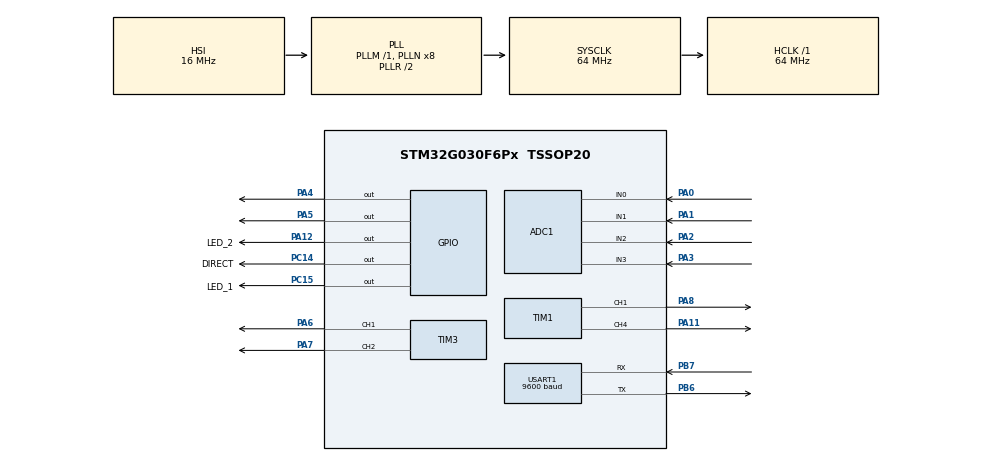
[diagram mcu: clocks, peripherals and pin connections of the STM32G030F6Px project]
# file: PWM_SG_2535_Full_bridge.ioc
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ADC1.Channel-0\#ChannelRegularConversion=ADC_CHANNEL_0
ADC1.Channel-1\#ChannelRegularConversion=ADC_CHANNEL_1
ADC1.Channel-2\#ChannelRegularConversion=ADC_CHANNEL_2
ADC1.Channel-3\#ChannelRegularConversion=ADC_CHANNEL_3
ADC1.Channel-4\#ChannelRegularConversion=ADC_CHANNEL_4
ADC1.Channel-5\#ChannelRegularConversion=ADC_CHANNEL_5
ADC1.Channel-6\#ChannelRegularConversion=ADC_CHANNEL_6
ADC1.ContinuousConvMode=DISABLE
ADC1.EOCSelection=ADC_EOC_SEQ_CONV
ADC1.NbrOfConversion=7
ADC1.NbrOfConversionFlag=1
ADC1.Overrun=ADC_OVR_DATA_OVERWRITTEN
ADC1.Rank-0\#ChannelRegularConversion=1
ADC1.Rank-1\#ChannelRegularConversion=2
ADC1.Rank-2\#ChannelRegularConversion=3
ADC1.Rank-3\#ChannelRegularConversion=4
ADC1.Rank-4\#ChannelRegularConversion=5
ADC1.Rank-5\#ChannelRegularConversion=6
ADC1.Rank-6\#ChannelRegularConversion=7
ADC1.SamplingTime-0\#ChannelRegularConversion=ADC_SAMPLINGTIME_COMMON_1
ADC1.SamplingTime-1\#ChannelRegularConversion=ADC_SAMPLINGTIME_COMMON_1
ADC1.SamplingTime-2\#ChannelRegularConversion=ADC_SAMPLINGTIME_COMMON_1
ADC1.SamplingTime-3\#ChannelRegularConversion=ADC_SAMPLINGTIME_COMMON_1
ADC1.SamplingTime-4\#ChannelRegularConversion=ADC_SAMPLINGTIME_COMMON_1
ADC1.SamplingTime-5\#ChannelRegularConversion=ADC_SAMPLINGTIME_COMMON_1
ADC1.SamplingTime-6\#ChannelRegularConversion=ADC_SAMPLINGTIME_COMMON_1
ADC1.SamplingTimeCommon1=ADC_SAMPLETIME_79CYCLES_5
ADC1.SamplingTimeCommon2=ADC_SAMPLETIME_79CYCLES_5
ADC1.SelectedChannel=ADC_CHANNEL_0|ADC_CHANNEL_1|ADC_CHANNEL_2|ADC_CHANNEL_3
ADC1.master=1
Dma.ADC1.2.Direction=DMA_PERIPH_TO_MEMORY
Dma.ADC1.2.EventEnable=DISABLE
Dma.ADC1.2.Instance=DMA1_Channel3
Dma.ADC1.2.MemDataAlignment=DMA_MDATAALIGN_HALFWORD
Dma.ADC1.2.MemInc=DMA_MINC_ENABLE
Dma.ADC1.2.Mode=DMA_NORMAL
Dma.ADC1.2.PeriphDataAlignment=DMA_PDATAALIGN_HALFWORD
Dma.ADC1.2.PeriphInc=DMA_PINC_DISABLE
Dma.ADC1.2.Polarity=HAL_DMAMUX_REQ_GEN_RISING
Dma.ADC1.2.Priority=DMA_PRIORITY_LOW
Dma.ADC1.2.RequestNumber=1
Dma.ADC1.2.SignalID=NONE
Dma.ADC1.2.SyncEnable=DISABLE
Dma.ADC1.2.SyncPolarity=HAL_DMAMUX_SYNC_NO_EVENT
Dma.ADC1.2.SyncRequestNumber=1
Dma.ADC1.2.SyncSignalID=NONE
Dma.Request0=USART1_RX
Dma.Request1=USART1_TX
Dma.Request2=ADC1
Dma.USART1_RX.0.Direction=DMA_PERIPH_TO_MEMORY
Dma.USART1_RX.0.EventEnable=DISABLE
Dma.USART1_RX.0.Instance=DMA1_Channel1
Dma.USART1_RX.0.MemDataAlignment=DMA_MDATAALIGN_BYTE
Dma.USART1_RX.0.MemInc=DMA_MINC_ENABLE
Dma.USART1_RX.0.Mode=DMA_NORMAL
Dma.USART1_RX.0.PeriphDataAlignment=DMA_PDATAALIGN_BYTE
Dma.USART1_RX.0.PeriphInc=DMA_PINC_DISABLE
Dma.USART1_RX.0.Polarity=HAL_DMAMUX_REQ_GEN_RISING
Dma.USART1_RX.0.Priority=DMA_PRIORITY_VERY_HIGH
Dma.USART1_RX.0.RequestNumber=1
Dma.USART1_RX.0.SignalID=NONE
Dma.USART1_RX.0.SyncEnable=DISABLE
Dma.USART1_RX.0.SyncPolarity=HAL_DMAMUX_SYNC_NO_EVENT
Dma.USART1_RX.0.SyncRequestNumber=1
Dma.USART1_RX.0.SyncSignalID=NONE
Dma.USART1_TX.1.Direction=DMA_MEMORY_TO_PERIPH
Dma.USART1_TX.1.EventEnable=DISABLE
Dma.USART1_TX.1.Instance=DMA1_Channel2
Dma.USART1_TX.1.MemDataAlignment=DMA_MDATAALIGN_BYTE
Dma.USART1_TX.1.MemInc=DMA_MINC_ENABLE
Dma.USART1_TX.1.Mode=DMA_NORMAL
Dma.USART1_TX.1.PeriphDataAlignment=DMA_PDATAALIGN_BYTE
Dma.USART1_TX.1.PeriphInc=DMA_PINC_DISABLE
Dma.USART1_TX.1.Polarity=HAL_DMAMUX_REQ_GEN_RISING
Dma.USART1_TX.1.Priority=DMA_PRIORITY_HIGH
Dma.USART1_TX.1.RequestNumber=1
Dma.USART1_TX.1.SignalID=NONE
Dma.USART1_TX.1.SyncEnable=DISABLE
Dma.USART1_TX.1.SyncPolarity=HAL_DMAMUX_SYNC_NO_EVENT
Dma.USART1_TX.1.SyncRequestNumber=1
Dma.USART1_TX.1.SyncSignalID=NONE
Mcu.Family=STM32G0
Mcu.Name=STM32G030F6Px
Mcu.Package=TSSOP20
NVIC.ADC1_IRQn=true\:0\:0\:false\:false\:true\:true\:true\:true
NVIC.DMA1_Channel1_IRQn=true\:0\:0\:false\:false\:true\:false\:true\:true
NVIC.DMA1_Channel2_3_IRQn=true\:0\:0\:false\:false\:true\:false\:true\:true
NVIC.RCC_IRQn=true\:0\:0\:false\:false\:true\:true\:false\:true
NVIC.TIM14_IRQn=true\:0\:0\:false\:false\:true\:true\:true\:true
NVIC.USART1_IRQn=true\:0\:0\:false\:false\:true\:true\:true\:true
PA0.Mode=IN0
PA0.Signal=ADC1_IN0
PA1.Mode=IN1
PA1.Signal=ADC1_IN1
PA11\ [PA9].Signal=S_TIM1_CH4
PA12\ [PA10].GPIO_Label=LED_2
PA12\ [PA10].Signal=GPIO_Output
PA13.Mode=Serial_Wire
PA13.Signal=SYS_SWDIO
PA14-BOOT0.Mode=Serial_Wire
PA14-BOOT0.Signal=SYS_SWCLK
PA14-BOOT0__PA15.StandardMode=true
PA2.Mode=IN2
PA2.Signal=ADC1_IN2
PA3.Mode=IN3
PA3.Signal=ADC1_IN3
PA4.Signal=GPIO_Output
PA5.Signal=GPIO_Output
PA6.Signal=S_TIM3_CH1
PA7.Signal=S_TIM3_CH2
PA8.Signal=S_TIM1_CH1
PB0__PB1__PB2__PA8.StandardMode=true
PB3__PB4__PB5__PB6.StandardMode=true
PB6.Mode=Asynchronous
PB6.Signal=USART1_TX
PB7.Mode=Asynchronous
PB7.Signal=USART1_RX
PB7__PB8.StandardMode=true
PC14-OSC32_IN\ (PC14).GPIO_Label=DIRECT
PC14-OSC32_IN\ (PC14).Signal=GPIO_Output
PC14-OSC32_IN\ (PC14)__PB9.StandardMode=true
PC15-OSC32_OUT\ (PC15).GPIO_Label=LED_1
PC15-OSC32_OUT\ (PC15).Signal=GPIO_Output
ProjectManager.HeapSize=0x200
ProjectManager.StackSize=0x400
ProjectManager.TargetToolchain=STM32CubeIDE
RCC.ADCFreq_Value=64000000
RCC.AHBFreq_Value=64000000
RCC.CortexFreq_Value=64000000
RCC.EXTERNAL_CLOCK_VALUE=12288000
RCC.HCLKFreq_Value=64000000
RCC.HSE_VALUE=8000000
RCC.HSI_VALUE=16000000
RCC.LSE_VALUE=32768
RCC.SYSCLKFreq_VALUE=64000000
RCC.SYSCLKSource=RCC_SYSCLKSOURCE_PLLCLK
RCC.VCOOutputFreq_Value=128000000
SH.S_TIM1_CH1.0=TIM1_CH1,PWM Generation1 CH1
SH.S_TIM1_CH4.0=TIM1_CH4,PWM Generation4 CH4
SH.S_TIM3_CH1.0=TIM3_CH1,PWM Generation1 CH1
SH.S_TIM3_CH2.0=TIM3_CH2,PWM Generation2 CH2
TIM1.Channel-PWM\ Generation1\ CH1=TIM_CHANNEL_1
TIM1.Channel-PWM\ Generation4\ CH4=TIM_CHANNEL_4
TIM14.AutoReloadPreload=TIM_AUTORELOAD_PRELOAD_ENABLE
TIM14.Period=45000
TIM14.Prescaler=4
TIM3.Channel-PWM\ Generation1\ CH1=TIM_CHANNEL_1
TIM3.Channel-PWM\ Generation2\ CH2=TIM_CHANNEL_2
USART1.BaudRate=9600
USART1.VirtualMode-Asynchronous=VM_ASYNC
VP_TIM14_VS_ClockSourceINT.Mode=Enable_Timer
VP_TIM16_VS_ClockSourceINT.Mode=Enable_Timer
VP_TIM1_VS_ClockSourceINT.Mode=Internal
VP_TIM3_VS_ClockSourceINT.Mode=Internal
board=custom

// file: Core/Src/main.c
/* USER CODE BEGIN Header */
/**
  ******************************************************************************
  * @file           : main.c
  * @brief          : Main program body
  ******************************************************************************
  * @attention
  *
  * Copyright (c) 2024 STMicroelectronics.
  * All rights reserved.
  *
  * This software is licensed under terms that can be found in the LICENSE file
  * in the root directory of this software component.
  * If no LICENSE file comes with this software, it is provided AS-IS.
  *
  ******************************************************************************
  */
/* USER CODE END Header */
#include "main.h"

/* USER CODE BEGIN Includes */
#include "stdbool.h"
#include "modbusDevice.h"
#include "modbusSlave.h"
#include "Registers_handler.h"
#include <math.h>
/* USER CODE END Includes */

/* USER CODE BEGIN PTD */
#define RX_BUFFER_SIZE 64
#define USART_TIMEOUT 900 // Таймаут в миллисекундах
#define ADC_NUM_CHANNELS 7
#define MA_WINDOW_SIZE 50
#define ADC_CHANNEL_COUNT 2
#define STEINHART_A 0.001129148f
#define STEINHART_B 0.000234125f
#define STEINHART_C 0.0000000876741f  // 8.76741e-08

uint16_t adc_values[ADC_NUM_CHANNELS];
volatile uint8_t adc_ready = 0;
uint32_t lastActivityTime = 0;
 bool usartBusy = false;
 uint8_t rxFrame[64];
 uint8_t txFrame[255];
 uint8_t SLAVE_ID=8;
 uint16_t data_reg[16]={0,};
 uint16_t rcv_data_reg[16]={0,};
 uint8_t coils=0;
 uint8_t dicreteInputs=0;

 typedef struct {
     uint16_t buffer[MA_WINDOW_SIZE];
     uint32_t sum;
     uint8_t index;
     uint8_t filled;
     uint16_t result;
 } MovingAverageFilter;

 MovingAverageFilter ma_filters[ADC_CHANNEL_COUNT] = {0};
/* USER CODE END PTD */

ADC_HandleTypeDef hadc1;
DMA_HandleTypeDef hdma_adc1;

TIM_HandleTypeDef htim1;
TIM_HandleTypeDef htim3;
TIM_HandleTypeDef htim14;
TIM_HandleTypeDef htim16;

UART_HandleTypeDef huart1;
DMA_HandleTypeDef hdma_usart1_rx;
DMA_HandleTypeDef hdma_usart1_tx;

void SystemClock_Config(void);
static void MX_GPIO_Init(void);
static void MX_DMA_Init(void);
static void MX_USART1_UART_Init(void);
static void MX_ADC1_Init(void);
static void MX_TIM14_Init(void);
static void MX_TIM1_Init(void);
static void MX_TIM3_Init(void);
static void MX_TIM16_Init(void);

/* USER CODE BEGIN 0 */
void Check_USART1_Timeout(void);
void Reset_USART1(void);
float calculate_ntc_temperature(uint16_t adc_raw);
void MA_Update(MovingAverageFilter *filter, uint16_t new_value);
/* USER CODE END 0 */

int main(void)
{

  /* MCU Configuration--------------------------------------------------------*/

  /* Reset of all peripherals, Initializes the Flash interface and the Systick. */
  HAL_Init();

  /* Configure the system clock */
  SystemClock_Config();

  /* Initialize all configured peripherals */
  MX_GPIO_Init();
  MX_DMA_Init();
  MX_USART1_UART_Init();
  MX_ADC1_Init();
  MX_TIM14_Init();
  MX_TIM1_Init();
  MX_TIM3_Init();
  MX_TIM16_Init();
  /* USER CODE BEGIN 2 */

  HAL_UARTEx_ReceiveToIdle_DMA(&huart1, rxFrame, RX_BUFFER_SIZE);
   __HAL_DMA_DISABLE_IT(&hdma_usart1_rx, DMA_IT_HT);
   HAL_ADCEx_Calibration_Start(&hadc1);
   HAL_TIM_Base_Start_IT(&htim14);

  /* USER CODE END 2 */

  /* Infinite loop */
  /* USER CODE BEGIN WHILE */
  while (1)
  {

	// float t_float = calculate_ntc_temperature(adc_values[2]);
	  Check_USART1_Timeout();
	data_reg[0] = ma_filters[0].result*0.53;
	data_reg[1] = ma_filters[1].result;
	memcpy(&data_reg[2], (int16_t[]){(int16_t)(calculate_ntc_temperature(adc_values[2]) * 10.0f + 0.5f)}, 2);
	data_reg[3]=adc_values[3];
	data_reg[4]=adc_values[4];
    data_reg[5]=adc_values[5];
    data_reg[6]=adc_values[6];

    /* USER CODE END WHILE */

  }
}

void SystemClock_Config(void)
{
  RCC_OscInitTypeDef RCC_OscInitStruct = {0};
  RCC_ClkInitTypeDef RCC_ClkInitStruct = {0};

  /** Configure the main internal regulator output voltage
  */
  HAL_PWREx_ControlVoltageScaling(PWR_REGULATOR_VOLTAGE_SCALE1);

  /** Initializes the RCC Oscillators according to the specified parameters
  * in the RCC_OscInitTypeDef structure.
  */
  RCC_OscInitStruct.OscillatorType = RCC_OSCILLATORTYPE_HSI;
  RCC_OscInitStruct.HSIState = RCC_HSI_ON;
  RCC_OscInitStruct.HSIDiv = RCC_HSI_DIV1;
  RCC_OscInitStruct.HSICalibrationValue = RCC_HSICALIBRATION_DEFAULT;
  RCC_OscInitStruct.PLL.PLLState = RCC_PLL_ON;
  RCC_OscInitStruct.PLL.PLLSource = RCC_PLLSOURCE_HSI;
  RCC_OscInitStruct.PLL.PLLM = RCC_PLLM_DIV1;
  RCC_OscInitStruct.PLL.PLLN = 8;
  RCC_OscInitStruct.PLL.PLLP = RCC_PLLP_DIV2;
  RCC_OscInitStruct.PLL.PLLR = RCC_PLLR_DIV2;
  if (HAL_RCC_OscConfig(&RCC_OscInitStruct) != HAL_OK)
  {
    Error_Handler();
  }

  /** Initializes the CPU, AHB and APB buses clocks
  */
  RCC_ClkInitStruct.ClockType = RCC_CLOCKTYPE_HCLK|RCC_CLOCKTYPE_SYSCLK
                              |RCC_CLOCKTYPE_PCLK1;
  RCC_ClkInitStruct.SYSCLKSource = RCC_SYSCLKSOURCE_PLLCLK;
  RCC_ClkInitStruct.AHBCLKDivider = RCC_SYSCLK_DIV1;
  RCC_ClkInitStruct.APB1CLKDivider = RCC_HCLK_DIV1;

  if (HAL_RCC_ClockConfig(&RCC_ClkInitStruct, FLASH_LATENCY_2) != HAL_OK)
  {
    Error_Handler();
  }
}

static void MX_ADC1_Init(void)
{

  ADC_ChannelConfTypeDef sConfig = {0};

  /** Configure the global features of the ADC (Clock, Resolution, Data Alignment and number of conversion)
  */
  hadc1.Instance = ADC1;
  hadc1.Init.ClockPrescaler = ADC_CLOCK_SYNC_PCLK_DIV2;
  hadc1.Init.Resolution = ADC_RESOLUTION_12B;
  hadc1.Init.DataAlign = ADC_DATAALIGN_RIGHT;
  hadc1.Init.ScanConvMode = ADC_SCAN_ENABLE;
  hadc1.Init.EOCSelection = ADC_EOC_SEQ_CONV;
  hadc1.Init.LowPowerAutoWait = DISABLE;
  hadc1.Init.LowPowerAutoPowerOff = DISABLE;
  hadc1.Init.ContinuousConvMode = DISABLE;
  hadc1.Init.NbrOfConversion = 7;
  hadc1.Init.DiscontinuousConvMode = DISABLE;
  hadc1.Init.ExternalTrigConv = ADC_SOFTWARE_START;
  hadc1.Init.ExternalTrigConvEdge = ADC_EXTERNALTRIGCONVEDGE_NONE;
  hadc1.Init.DMAContinuousRequests = DISABLE;
  hadc1.Init.Overrun = ADC_OVR_DATA_OVERWRITTEN;
  hadc1.Init.SamplingTimeCommon1 = ADC_SAMPLETIME_79CYCLES_5;
  hadc1.Init.SamplingTimeCommon2 = ADC_SAMPLETIME_79CYCLES_5;
  hadc1.Init.OversamplingMode = DISABLE;
  hadc1.Init.TriggerFrequencyMode = ADC_TRIGGER_FREQ_HIGH;
  if (HAL_ADC_Init(&hadc1) != HAL_OK)
  {
    Error_Handler();
  }

  /** Configure Regular Channel
  */
  sConfig.Channel = ADC_CHANNEL_0;
  sConfig.Rank = ADC_REGULAR_RANK_1;
  sConfig.SamplingTime = ADC_SAMPLINGTIME_COMMON_1;
  if (HAL_ADC_ConfigChannel(&hadc1, &sConfig) != HAL_OK)
  {
    Error_Handler();
  }

  /** Configure Regular Channel
  */
  sConfig.Channel = ADC_CHANNEL_1;
  sConfig.Rank = ADC_REGULAR_RANK_2;
  if (HAL_ADC_ConfigChannel(&hadc1, &sConfig) != HAL_OK)
  {
    Error_Handler();
  }

  /** Configure Regular Channel
  */
  sConfig.Channel = ADC_CHANNEL_2;
  sConfig.Rank = ADC_REGULAR_RANK_3;
  if (HAL_ADC_ConfigChannel(&hadc1, &sConfig) != HAL_OK)
  {
    Error_Handler();
  }

  /** Configure Regular Channel
  */
  sConfig.Channel = ADC_CHANNEL_3;
  sConfig.Rank = ADC_REGULAR_RANK_4;
  if (HAL_ADC_ConfigChannel(&hadc1, &sConfig) != HAL_OK)
  {
    Error_Handler();
  }

  /** Configure Regular Channel
  */
  sConfig.Channel = ADC_CHANNEL_4;
  sConfig.Rank = ADC_REGULAR_RANK_5;
  if (HAL_ADC_ConfigChannel(&hadc1, &sConfig) != HAL_OK)
  {
    Error_Handler();
  }

  /** Configure Regular Channel
  */
  sConfig.Channel = ADC_CHANNEL_5;
  sConfig.Rank = ADC_REGULAR_RANK_6;
  if (HAL_ADC_ConfigChannel(&hadc1, &sConfig) != HAL_OK)
  {
    Error_Handler();
  }

  /** Configure Regular Channel
  */
  sConfig.Channel = ADC_CHANNEL_6;
  sConfig.Rank = ADC_REGULAR_RANK_7;
  if (HAL_ADC_ConfigChannel(&hadc1, &sConfig) != HAL_OK)
  {
    Error_Handler();
  }

}

static void MX_TIM1_Init(void)
{

  TIM_ClockConfigTypeDef sClockSourceConfig = {0};
  TIM_MasterConfigTypeDef sMasterConfig = {0};
  TIM_OC_InitTypeDef sConfigOC = {0};
  TIM_BreakDeadTimeConfigTypeDef sBreakDeadTimeConfig = {0};

  htim1.Instance = TIM1;
  htim1.Init.Prescaler = 0;
  htim1.Init.CounterMode = TIM_COUNTERMODE_UP;
  htim1.Init.Period = 65535;
  htim1.Init.ClockDivision = TIM_CLOCKDIVISION_DIV1;
  htim1.Init.RepetitionCounter = 0;
  htim1.Init.AutoReloadPreload = TIM_AUTORELOAD_PRELOAD_DISABLE;
  if (HAL_TIM_Base_Init(&htim1) != HAL_OK)
  {
    Error_Handler();
  }
  sClockSourceConfig.ClockSource = TIM_CLOCKSOURCE_INTERNAL;
  if (HAL_TIM_ConfigClockSource(&htim1, &sClockSourceConfig) != HAL_OK)
  {
    Error_Handler();
  }
  if (HAL_TIM_PWM_Init(&htim1) != HAL_OK)
  {
    Error_Handler();
  }
  sMasterConfig.MasterOutputTrigger = TIM_TRGO_RESET;
  sMasterConfig.MasterOutputTrigger2 = TIM_TRGO2_RESET;
  sMasterConfig.MasterSlaveMode = TIM_MASTERSLAVEMODE_DISABLE;
  if (HAL_TIMEx_MasterConfigSynchronization(&htim1, &sMasterConfig) != HAL_OK)
  {
    Error_Handler();
  }
  sConfigOC.OCMode = TIM_OCMODE_PWM1;
  sConfigOC.Pulse = 0;
  sConfigOC.OCPolarity = TIM_OCPOLARITY_HIGH;
  sConfigOC.OCNPolarity = TIM_OCNPOLARITY_HIGH;
  sConfigOC.OCFastMode = TIM_OCFAST_DISABLE;
  sConfigOC.OCIdleState = TIM_OCIDLESTATE_RESET;
  sConfigOC.OCNIdleState = TIM_OCNIDLESTATE_RESET;
  if (HAL_TIM_PWM_ConfigChannel(&htim1, &sConfigOC, TIM_CHANNEL_1) != HAL_OK)
  {
    Error_Handler();
  }
  if (HAL_TIM_PWM_ConfigChannel(&htim1, &sConfigOC, TIM_CHANNEL_4) != HAL_OK)
  {
    Error_Handler();
  }
  sBreakDeadTimeConfig.OffStateRunMode = TIM_OSSR_DISABLE;
  sBreakDeadTimeConfig.OffStateIDLEMode = TIM_OSSI_DISABLE;
  sBreakDeadTimeConfig.LockLevel = TIM_LOCKLEVEL_OFF;
  sBreakDeadTimeConfig.DeadTime = 0;
  sBreakDeadTimeConfig.BreakState = TIM_BREAK_DISABLE;
  sBreakDeadTimeConfig.BreakPolarity = TIM_BREAKPOLARITY_HIGH;
  sBreakDeadTimeConfig.BreakFilter = 0;
  sBreakDeadTimeConfig.BreakAFMode = TIM_BREAK_AFMODE_INPUT;
  sBreakDeadTimeConfig.Break2State = TIM_BREAK2_DISABLE;
  sBreakDeadTimeConfig.Break2Polarity = TIM_BREAK2POLARITY_HIGH;
  sBreakDeadTimeConfig.Break2Filter = 0;
  sBreakDeadTimeConfig.Break2AFMode = TIM_BREAK_AFMODE_INPUT;
  sBreakDeadTimeConfig.AutomaticOutput = TIM_AUTOMATICOUTPUT_DISABLE;
  if (HAL_TIMEx_ConfigBreakDeadTime(&htim1, &sBreakDeadTimeConfig) != HAL_OK)
  {
    Error_Handler();
  }
  HAL_TIM_MspPostInit(&htim1);

}

static void MX_TIM3_Init(void)
{

  TIM_ClockConfigTypeDef sClockSourceConfig = {0};
  TIM_MasterConfigTypeDef sMasterConfig = {0};
  TIM_OC_InitTypeDef sConfigOC = {0};

  htim3.Instance = TIM3;
  htim3.Init.Prescaler = 0;
  htim3.Init.CounterMode = TIM_COUNTERMODE_UP;
  htim3.Init.Period = 65535;
  htim3.Init.ClockDivision = TIM_CLOCKDIVISION_DIV1;
  htim3.Init.AutoReloadPreload = TIM_AUTORELOAD_PRELOAD_DISABLE;
  if (HAL_TIM_Base_Init(&htim3) != HAL_OK)
  {
    Error_Handler();
  }
  sClockSourceConfig.ClockSource = TIM_CLOCKSOURCE_INTERNAL;
  if (HAL_TIM_ConfigClockSource(&htim3, &sClockSourceConfig) != HAL_OK)
  {
    Error_Handler();
  }
  if (HAL_TIM_PWM_Init(&htim3) != HAL_OK)
  {
    Error_Handler();
  }
  sMasterConfig.MasterOutputTrigger = TIM_TRGO_RESET;
  sMasterConfig.MasterSlaveMode = TIM_MASTERSLAVEMODE_DISABLE;
  if (HAL_TIMEx_MasterConfigSynchronization(&htim3, &sMasterConfig) != HAL_OK)
  {
    Error_Handler();
  }
  sConfigOC.OCMode = TIM_OCMODE_PWM1;
  sConfigOC.Pulse = 0;
  sConfigOC.OCPolarity = TIM_OCPOLARITY_HIGH;
  sConfigOC.OCFastMode = TIM_OCFAST_DISABLE;
  if (HAL_TIM_PWM_ConfigChannel(&htim3, &sConfigOC, TIM_CHANNEL_1) != HAL_OK)
  {
    Error_Handler();
  }
  if (HAL_TIM_PWM_ConfigChannel(&htim3, &sConfigOC, TIM_CHANNEL_2) != HAL_OK)
  {
    Error_Handler();
  }
  HAL_TIM_MspPostInit(&htim3);

}

static void MX_TIM14_Init(void)
{

  htim14.Instance = TIM14;
  htim14.Init.Prescaler = 4;
  htim14.Init.CounterMode = TIM_COUNTERMODE_UP;
  htim14.Init.Period = 45000;
  htim14.Init.ClockDivision = TIM_CLOCKDIVISION_DIV1;
  htim14.Init.AutoReloadPreload = TIM_AUTORELOAD_PRELOAD_ENABLE;
  if (HAL_TIM_Base_Init(&htim14) != HAL_OK)
  {
    Error_Handler();
  }

}

static void MX_TIM16_Init(void)
{

  htim16.Instance = TIM16;
  htim16.Init.Prescaler = 0;
  htim16.Init.CounterMode = TIM_COUNTERMODE_UP;
  htim16.Init.Period = 65535;
  htim16.Init.ClockDivision = TIM_CLOCKDIVISION_DIV1;
  htim16.Init.RepetitionCounter = 0;
  htim16.Init.AutoReloadPreload = TIM_AUTORELOAD_PRELOAD_DISABLE;
  if (HAL_TIM_Base_Init(&htim16) != HAL_OK)
  {
    Error_Handler();
  }

}

static void MX_USART1_UART_Init(void)
{

  huart1.Instance = USART1;
  huart1.Init.BaudRate = 9600;
  huart1.Init.WordLength = UART_WORDLENGTH_8B;
  huart1.Init.StopBits = UART_STOPBITS_1;
  huart1.Init.Parity = UART_PARITY_NONE;
  huart1.Init.Mode = UART_MODE_TX_RX;
  huart1.Init.HwFlowCtl = UART_HWCONTROL_NONE;
  huart1.Init.OverSampling = UART_OVERSAMPLING_16;
  huart1.Init.OneBitSampling = UART_ONE_BIT_SAMPLE_DISABLE;
  huart1.Init.ClockPrescaler = UART_PRESCALER_DIV1;
  huart1.AdvancedInit.AdvFeatureInit = UART_ADVFEATURE_NO_INIT;
  if (HAL_UART_Init(&huart1) != HAL_OK)
  {
    Error_Handler();
  }
  if (HAL_UARTEx_SetTxFifoThreshold(&huart1, UART_TXFIFO_THRESHOLD_1_8) != HAL_OK)
  {
    Error_Handler();
  }
  if (HAL_UARTEx_SetRxFifoThreshold(&huart1, UART_RXFIFO_THRESHOLD_1_8) != HAL_OK)
  {
    Error_Handler();
  }
  if (HAL_UARTEx_DisableFifoMode(&huart1) != HAL_OK)
  {
    Error_Handler();
  }

}

static void MX_DMA_Init(void)
{

  /* DMA controller clock enable */
  __HAL_RCC_DMA1_CLK_ENABLE();

  /* DMA interrupt init */
  /* DMA1_Channel1_IRQn interrupt configuration */
  HAL_NVIC_SetPriority(DMA1_Channel1_IRQn, 0, 0);
  HAL_NVIC_EnableIRQ(DMA1_Channel1_IRQn);
  /* DMA1_Channel2_3_IRQn interrupt configuration */
  HAL_NVIC_SetPriority(DMA1_Channel2_3_IRQn, 0, 0);
  HAL_NVIC_EnableIRQ(DMA1_Channel2_3_IRQn);

}

static void MX_GPIO_Init(void)
{
  GPIO_InitTypeDef GPIO_InitStruct = {0};

  /* GPIO Ports Clock Enable */
  __HAL_RCC_GPIOB_CLK_ENABLE();
  __HAL_RCC_GPIOC_CLK_ENABLE();
  __HAL_RCC_GPIOA_CLK_ENABLE();

  /*Configure GPIO pin Output Level */
  HAL_GPIO_WritePin(GPIOC, DIRECT_Pin|LED_1_Pin, GPIO_PIN_RESET);

  /*Configure GPIO pin Output Level */
  HAL_GPIO_WritePin(GPIOA, GPIO_PIN_4|GPIO_PIN_5|LED_2_Pin, GPIO_PIN_RESET);

  /*Configure GPIO pins : DIRECT_Pin LED_1_Pin */
  GPIO_InitStruct.Pin = DIRECT_Pin|LED_1_Pin;
  GPIO_InitStruct.Mode = GPIO_MODE_OUTPUT_PP;
  GPIO_InitStruct.Pull = GPIO_NOPULL;
  GPIO_InitStruct.Speed = GPIO_SPEED_FREQ_LOW;
  HAL_GPIO_Init(GPIOC, &GPIO_InitStruct);

  /*Configure GPIO pins : PA4 PA5 LED_2_Pin */
  GPIO_InitStruct.Pin = GPIO_PIN_4|GPIO_PIN_5|LED_2_Pin;
  GPIO_InitStruct.Mode = GPIO_MODE_OUTPUT_PP;
  GPIO_InitStruct.Pull = GPIO_NOPULL;
  GPIO_InitStruct.Speed = GPIO_SPEED_FREQ_LOW;
  HAL_GPIO_Init(GPIOA, &GPIO_InitStruct);

}

/* USER CODE BEGIN 4 */

void HAL_UART_TxCpltCallback(UART_HandleTypeDef *huart)

{

	    RX_2;
	    lastActivityTime = HAL_GetTick();
	    HAL_UARTEx_ReceiveToIdle_DMA(&huart1, rxFrame,RX_BUFFER_SIZE);
	    __HAL_UART_ENABLE_IT(&huart1, UART_IT_IDLE);
	    __HAL_DMA_DISABLE_IT(&hdma_usart1_rx, DMA_IT_HT);
	 //   HAL_TIM_Base_Start_IT(&htim14);
	  //  LED_1_OFF;
}

void HAL_UARTEx_RxEventCallback(UART_HandleTypeDef *huart, uint16_t Size)
{
	if (huart->Instance == USART1)
	{

      //  LED_1_ON;
      //  HAL_TIM_Base_Stop_IT(&htim14);
		lastActivityTime = HAL_GetTick();
	    __HAL_UART_DISABLE_IT(&huart1, UART_IT_IDLE);
	    HAL_DMA_Abort(&hdma_usart1_rx);
	    Registers_handler(rxFrame, data_reg, rcv_data_reg,Size);
	  //  HAL_TIM_Base_Start_IT(&htim14);
	}
}

void HAL_ADC_ConvCpltCallback(ADC_HandleTypeDef* hadc)
{
    if (hadc->Instance == ADC1)
    {

    	MA_Update(&ma_filters[0], adc_values[0]);
    	MA_Update(&ma_filters[1], adc_values[1]);
    	LED_2_OFF;

        adc_ready = 1;
    }
}

void HAL_TIM_PeriodElapsedCallback(TIM_HandleTypeDef *htim)
{
    if (htim->Instance == TIM14)
    {
    	LED_2_ON;
    	HAL_ADC_Start_DMA(&hadc1, (uint32_t*)adc_values, ADC_NUM_CHANNELS);
    }
}

void Check_USART1_Timeout(void)
 {
     if (HAL_GetTick() - lastActivityTime >= USART_TIMEOUT)
     {

         Reset_USART1();
         RX_2;
         LED_1_OFF;
     }
 }

 void Reset_USART1(void) {
     // Включить индикатор (если требуется)
     LED_1_ON;

     // Остановить передачу и прием по DMA
     if (HAL_UART_DMAStop(&huart1) != HAL_OK) {
         // Обработка ошибки
     }

     // Прерывание активных DMA транзакций
     if (hdma_usart1_rx.Instance != NULL) {
         HAL_DMA_Abort(&hdma_usart1_rx);
     }
     if (hdma_usart1_tx.Instance != NULL) {
         HAL_DMA_Abort(&hdma_usart1_tx);
     }

     // Отключить все прерывания UART
     __HAL_UART_DISABLE_IT(&huart1, UART_IT_IDLE | UART_IT_TC | UART_IT_RXNE);

     // Сбросить флаги ошибок UART
     __HAL_UART_CLEAR_OREFLAG(&huart1);
     __HAL_UART_CLEAR_FEFLAG(&huart1);

     // Сбросить периферийный модуль USART1
     __HAL_RCC_USART1_FORCE_RESET();
     HAL_Delay(1); // Задержка для завершения сброса
     __HAL_RCC_USART1_RELEASE_RESET();

     // Деинициализация UART
     if (HAL_UART_DeInit(&huart1) != HAL_OK) {
         // Обработка ошибки
     }

     // Повторная инициализация UART
     MX_USART1_UART_Init();

     // Повторная настройка DMA
     MX_DMA_Init();

     // Настройка UART для приема данных с использованием DMA
     if (HAL_UARTEx_ReceiveToIdle_DMA(&huart1, rxFrame, RX_BUFFER_SIZE) != HAL_OK) {
         // Обработка ошибки
     }
     __HAL_DMA_DISABLE_IT(&hdma_usart1_rx, DMA_IT_HT);

     // Сброс параметров и таймеров
     lastActivityTime = HAL_GetTick();

 }

 float calculate_ntc_temperature(uint16_t adc_raw)
 {
     const float Vref = 3.3f;
     const float R_fixed = 9600.0f;
     const float ADC_Max = 4095.0f;

     // 1. Переводим adc_raw в напряжение
     float Vadc = (adc_raw / ADC_Max) * Vref;

     // 2. Вычисляем сопротивление термистора
     float R_ntc = (Vadc * R_fixed) / (Vref - Vadc);

     // 3. Формула Штейнхарта–Харта
     float logR = logf(R_ntc);
     float inv_T = STEINHART_A + STEINHART_B * logR + STEINHART_C * logR * logR * logR;

     float T_kelvin = 1.0f / inv_T;
     float T_celsius = T_kelvin - 273.15f;

     return T_celsius;
 }

 void MA_Update(MovingAverageFilter *filter, uint16_t new_value)
 {
     filter->sum -= filter->buffer[filter->index];
     filter->buffer[filter->index] = new_value;
     filter->sum += new_value;

     filter->index++;
     if (filter->index >= MA_WINDOW_SIZE)
     {
         filter->index = 0;
         filter->filled = 1;
     }

     uint8_t size = filter->filled ? MA_WINDOW_SIZE : filter->index;
     filter->result = filter->sum / (size ? size : 1);
 }

/* USER CODE END 4 */

void Error_Handler(void)
{
  __disable_irq();
  while (1)
  {
  }
}
